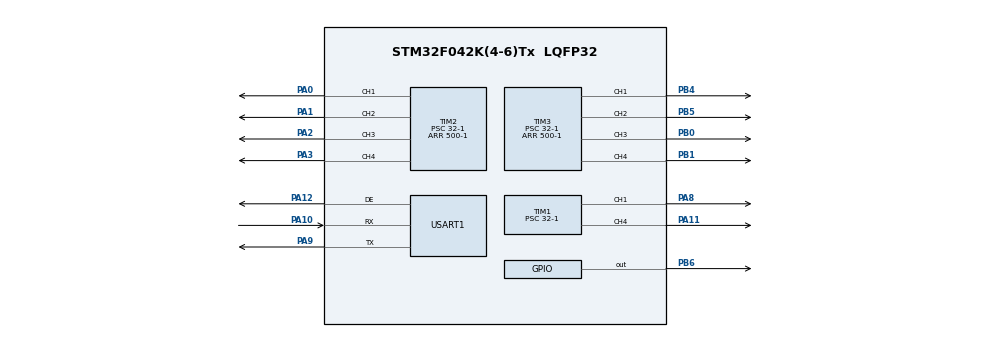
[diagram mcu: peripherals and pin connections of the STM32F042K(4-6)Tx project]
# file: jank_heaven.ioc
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CRC.InputDataFormat=CRC_INPUTDATA_FORMAT_WORDS
Mcu.Family=STM32F0
Mcu.Name=STM32F042K(4-6)Tx
Mcu.Package=LQFP32
PA0.Signal=S_TIM2_CH1_ETR
PA1.Signal=S_TIM2_CH2
PA10.Mode=Asynchronous
PA10.Signal=USART1_RX
PA11.Signal=S_TIM1_CH4
PA12.Mode=Hardware Flow Control (RS485)
PA12.Signal=USART1_DE
PA13.Mode=Serial_Wire
PA13.Signal=SYS_SWDIO
PA14.Mode=Serial_Wire
PA14.Signal=SYS_SWCLK
PA2.Signal=S_TIM2_CH3
PA3.Signal=S_TIM2_CH4
PA4.Signal=SPI1_NSS
PA5.Signal=SPI1_SCK
PA6.Signal=SPI1_MISO
PA7.Signal=SPI1_MOSI
PA8.Signal=S_TIM1_CH1
PA9.Mode=Asynchronous
PA9.Signal=USART1_TX
PB0.Signal=S_TIM3_CH3
PB1.Signal=S_TIM3_CH4
PB4.Signal=S_TIM3_CH1
PB5.Signal=S_TIM3_CH2
PB6.Signal=GPIO_Output
ProjectManager.HeapSize=0x200
ProjectManager.StackSize=0x400
ProjectManager.TargetToolchain=STM32CubeIDE
SH.S_TIM1_CH1.0=TIM1_CH1,PWM Generation1 CH1
SH.S_TIM1_CH4.0=TIM1_CH4,PWM Generation4 CH4
SH.S_TIM2_CH1_ETR.0=TIM2_CH1,PWM Generation1 CH1
SH.S_TIM2_CH2.0=TIM2_CH2,PWM Generation2 CH2
SH.S_TIM2_CH3.0=TIM2_CH3,PWM Generation3 CH3
SH.S_TIM2_CH4.0=TIM2_CH4,PWM Generation4 CH4
SH.S_TIM3_CH1.0=TIM3_CH1,PWM Generation1 CH1
SH.S_TIM3_CH2.0=TIM3_CH2,PWM Generation2 CH2
SH.S_TIM3_CH3.0=TIM3_CH3,PWM Generation3 CH3
SH.S_TIM3_CH4.0=TIM3_CH4,PWM Generation4 CH4
TIM1.Channel-PWM\ Generation1\ CH1=TIM_CHANNEL_1
TIM1.Channel-PWM\ Generation3\ CH3=TIM_CHANNEL_3
TIM1.Channel-PWM\ Generation4\ CH4=TIM_CHANNEL_4
TIM1.Period=500-1
TIM1.Prescaler=32-1
TIM1.Pulse-PWM\ Generation1\ CH1=375
TIM1.Pulse-PWM\ Generation3\ CH3=375
TIM1.Pulse-PWM\ Generation4\ CH4=375
TIM2.Channel-PWM\ Generation1\ CH1=TIM_CHANNEL_1
TIM2.Channel-PWM\ Generation2\ CH2=TIM_CHANNEL_2
TIM2.Channel-PWM\ Generation3\ CH3=TIM_CHANNEL_3
TIM2.Channel-PWM\ Generation4\ CH4=TIM_CHANNEL_4
TIM2.Period=500-1
TIM2.Prescaler=32-1
TIM2.Pulse-PWM\ Generation2\ CH2=375
TIM2.Pulse-PWM\ Generation3\ CH3=375
TIM2.Pulse-PWM\ Generation4\ CH4=375
TIM3.Channel-PWM\ Generation1\ CH1=TIM_CHANNEL_1
TIM3.Channel-PWM\ Generation2\ CH2=TIM_CHANNEL_2
TIM3.Channel-PWM\ Generation3\ CH3=TIM_CHANNEL_3
TIM3.Channel-PWM\ Generation4\ CH4=TIM_CHANNEL_4
TIM3.Period=500-1
TIM3.Prescaler=32-1
TIM3.Pulse-PWM\ Generation1\ CH1=375
TIM3.Pulse-PWM\ Generation2\ CH2=375
TIM3.Pulse-PWM\ Generation3\ CH3=375
TIM3.Pulse-PWM\ Generation4\ CH4=375
USART1.VirtualMode-Asynchronous=VM_ASYNC
USART1.VirtualMode-Hardware\ Flow\ Control\ (RS485)=VM_ASYNC
VP_CRC_VS_CRC.Mode=CRC_Activate
VP_TIM1_VS_ClockSourceINT.Mode=Internal
board=custom

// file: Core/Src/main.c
/* USER CODE BEGIN Header */
/**
 ******************************************************************************
 * @file           : main.c
 * @brief          : Main program body
 ******************************************************************************
 * @attention
 *
 * <h2><center>&copy; Copyright (c) 2023 STMicroelectronics.
 * All rights reserved.</center></h2>
 *
 * This software component is licensed by ST under BSD 3-Clause license,
 * the "License"; You may not use this file except in compliance with the
 * License. You may obtain a copy of the License at:
 *                        opensource.org/licenses/BSD-3-Clause
 *
 ******************************************************************************
 */
/* USER CODE END Header */
#include "main.h"

/* USER CODE BEGIN Includes */

//testing the branches

/* USER CODE END Includes */

/* USER CODE BEGIN PD */
#define SPI_BUFFER_SIZE 13
#define NUM_THRUSTERS 8
#define NUM_TOOLS 4
/* USER CODE END PD */

CRC_HandleTypeDef hcrc;

TIM_HandleTypeDef htim1;
TIM_HandleTypeDef htim2;
TIM_HandleTypeDef htim3;

UART_HandleTypeDef huart1;

/* USER CODE BEGIN PV */

uint8_t SPI_RX_Buffer[SPI_BUFFER_SIZE] = { 127, 127, 127, 127, 127, 127, 127,
		127, 127, 127, 127, 127, 127 };
uint8_t SPI_TX_Buffer[SPI_BUFFER_SIZE] =
		{ 0, 0, 0, 0, 0, 0, 0, 0, 0, 0, 0, 0, 0 };

GPIO_TypeDef *DEBUG_LED_GPIO_Port = GPIOB;
uint16_t DEBUG_LED_Pin = GPIO_PIN_6;

/* USER CODE END PV */

void SystemClock_Config(void);
static void MX_GPIO_Init(void);
static void MX_TIM2_Init(void);
static void MX_TIM3_Init(void);
static void MX_CRC_Init(void);
static void MX_TIM1_Init(void);
static void MX_USART1_UART_Init(void);
/* USER CODE BEGIN PFP */

void EnablePWMOutput(TIM_HandleTypeDef *_htim);

/* USER CODE END PFP */

int main(void)
{

  /* MCU Configuration--------------------------------------------------------*/

  /* Reset of all peripherals, Initializes the Flash interface and the Systick. */
  HAL_Init();

  /* Configure the system clock */
  SystemClock_Config();

  /* Initialize all configured peripherals */
  MX_GPIO_Init();
  MX_TIM2_Init();
  MX_TIM3_Init();
  MX_CRC_Init();
  MX_TIM1_Init();
  MX_USART1_UART_Init();
  /* USER CODE BEGIN 2 */
	EnablePWMOutput(&htim1);
	EnablePWMOutput(&htim2);
	EnablePWMOutput(&htim3);

  /* USER CODE END 2 */

  /* Infinite loop */
  /* USER CODE BEGIN WHILE */
	//HAL_SPI_TransmitReceive_IT(&hspi1, SPI_TX_Buffer, SPI_RX_Buffer, SPI_BUFFER_SIZE);
	//UART version of the above line
	HAL_UART_Transmit_IT(&huart1, SPI_TX_Buffer, SPI_BUFFER_SIZE);
	HAL_UART_Recieve_IT(&huart1, SPI_RX_Buffer, SPI_BUFFER_SIZE);
	for (;;) {
		htim3.Instance->CCR1 = 250;

		__asm("NOP");
	}
    /* USER CODE END WHILE */

}

void SystemClock_Config(void)
{
  RCC_OscInitTypeDef RCC_OscInitStruct = {0};
  RCC_ClkInitTypeDef RCC_ClkInitStruct = {0};
  RCC_PeriphCLKInitTypeDef PeriphClkInit = {0};

  /** Initializes the RCC Oscillators according to the specified parameters
  * in the RCC_OscInitTypeDef structure.
  */
  RCC_OscInitStruct.OscillatorType = RCC_OSCILLATORTYPE_HSI;
  RCC_OscInitStruct.HSIState = RCC_HSI_ON;
  RCC_OscInitStruct.HSICalibrationValue = RCC_HSICALIBRATION_DEFAULT;
  RCC_OscInitStruct.PLL.PLLState = RCC_PLL_NONE;
  if (HAL_RCC_OscConfig(&RCC_OscInitStruct) != HAL_OK)
  {
    Error_Handler();
  }

  /** Initializes the CPU, AHB and APB buses clocks
  */
  RCC_ClkInitStruct.ClockType = RCC_CLOCKTYPE_HCLK|RCC_CLOCKTYPE_SYSCLK
                              |RCC_CLOCKTYPE_PCLK1;
  RCC_ClkInitStruct.SYSCLKSource = RCC_SYSCLKSOURCE_HSI;
  RCC_ClkInitStruct.AHBCLKDivider = RCC_SYSCLK_DIV1;
  RCC_ClkInitStruct.APB1CLKDivider = RCC_HCLK_DIV1;

  if (HAL_RCC_ClockConfig(&RCC_ClkInitStruct, FLASH_LATENCY_0) != HAL_OK)
  {
    Error_Handler();
  }
  PeriphClkInit.PeriphClockSelection = RCC_PERIPHCLK_USART1;
  PeriphClkInit.Usart1ClockSelection = RCC_USART1CLKSOURCE_PCLK1;
  if (HAL_RCCEx_PeriphCLKConfig(&PeriphClkInit) != HAL_OK)
  {
    Error_Handler();
  }
}

static void MX_CRC_Init(void)
{

  hcrc.Instance = CRC;
  hcrc.Init.DefaultInitValueUse = DEFAULT_INIT_VALUE_ENABLE;
  hcrc.Init.InputDataInversionMode = CRC_INPUTDATA_INVERSION_NONE;
  hcrc.Init.OutputDataInversionMode = CRC_OUTPUTDATA_INVERSION_DISABLE;
  hcrc.InputDataFormat = CRC_INPUTDATA_FORMAT_WORDS;
  if (HAL_CRC_Init(&hcrc) != HAL_OK)
  {
    Error_Handler();
  }

}

static void MX_TIM1_Init(void)
{

  TIM_ClockConfigTypeDef sClockSourceConfig = {0};
  TIM_MasterConfigTypeDef sMasterConfig = {0};
  TIM_OC_InitTypeDef sConfigOC = {0};
  TIM_BreakDeadTimeConfigTypeDef sBreakDeadTimeConfig = {0};

  htim1.Instance = TIM1;
  htim1.Init.Prescaler = 32-1;
  htim1.Init.CounterMode = TIM_COUNTERMODE_UP;
  htim1.Init.Period = 500-1;
  htim1.Init.ClockDivision = TIM_CLOCKDIVISION_DIV1;
  htim1.Init.RepetitionCounter = 0;
  htim1.Init.AutoReloadPreload = TIM_AUTORELOAD_PRELOAD_DISABLE;
  if (HAL_TIM_Base_Init(&htim1) != HAL_OK)
  {
    Error_Handler();
  }
  sClockSourceConfig.ClockSource = TIM_CLOCKSOURCE_INTERNAL;
  if (HAL_TIM_ConfigClockSource(&htim1, &sClockSourceConfig) != HAL_OK)
  {
    Error_Handler();
  }
  if (HAL_TIM_PWM_Init(&htim1) != HAL_OK)
  {
    Error_Handler();
  }
  sMasterConfig.MasterOutputTrigger = TIM_TRGO_RESET;
  sMasterConfig.MasterSlaveMode = TIM_MASTERSLAVEMODE_DISABLE;
  if (HAL_TIMEx_MasterConfigSynchronization(&htim1, &sMasterConfig) != HAL_OK)
  {
    Error_Handler();
  }
  sConfigOC.OCMode = TIM_OCMODE_PWM1;
  sConfigOC.Pulse = 375;
  sConfigOC.OCPolarity = TIM_OCPOLARITY_HIGH;
  sConfigOC.OCNPolarity = TIM_OCNPOLARITY_HIGH;
  sConfigOC.OCFastMode = TIM_OCFAST_DISABLE;
  sConfigOC.OCIdleState = TIM_OCIDLESTATE_RESET;
  sConfigOC.OCNIdleState = TIM_OCNIDLESTATE_RESET;
  if (HAL_TIM_PWM_ConfigChannel(&htim1, &sConfigOC, TIM_CHANNEL_1) != HAL_OK)
  {
    Error_Handler();
  }
  if (HAL_TIM_PWM_ConfigChannel(&htim1, &sConfigOC, TIM_CHANNEL_4) != HAL_OK)
  {
    Error_Handler();
  }
  sBreakDeadTimeConfig.OffStateRunMode = TIM_OSSR_DISABLE;
  sBreakDeadTimeConfig.OffStateIDLEMode = TIM_OSSI_DISABLE;
  sBreakDeadTimeConfig.LockLevel = TIM_LOCKLEVEL_OFF;
  sBreakDeadTimeConfig.DeadTime = 0;
  sBreakDeadTimeConfig.BreakState = TIM_BREAK_DISABLE;
  sBreakDeadTimeConfig.BreakPolarity = TIM_BREAKPOLARITY_HIGH;
  sBreakDeadTimeConfig.AutomaticOutput = TIM_AUTOMATICOUTPUT_DISABLE;
  if (HAL_TIMEx_ConfigBreakDeadTime(&htim1, &sBreakDeadTimeConfig) != HAL_OK)
  {
    Error_Handler();
  }
  HAL_TIM_MspPostInit(&htim1);

}

static void MX_TIM2_Init(void)
{

  TIM_MasterConfigTypeDef sMasterConfig = {0};
  TIM_OC_InitTypeDef sConfigOC = {0};

  htim2.Instance = TIM2;
  htim2.Init.Prescaler = 32-1;
  htim2.Init.CounterMode = TIM_COUNTERMODE_UP;
  htim2.Init.Period = 500-1;
  htim2.Init.ClockDivision = TIM_CLOCKDIVISION_DIV1;
  htim2.Init.AutoReloadPreload = TIM_AUTORELOAD_PRELOAD_DISABLE;
  if (HAL_TIM_PWM_Init(&htim2) != HAL_OK)
  {
    Error_Handler();
  }
  sMasterConfig.MasterOutputTrigger = TIM_TRGO_RESET;
  sMasterConfig.MasterSlaveMode = TIM_MASTERSLAVEMODE_DISABLE;
  if (HAL_TIMEx_MasterConfigSynchronization(&htim2, &sMasterConfig) != HAL_OK)
  {
    Error_Handler();
  }
  sConfigOC.OCMode = TIM_OCMODE_PWM1;
  sConfigOC.Pulse = 0;
  sConfigOC.OCPolarity = TIM_OCPOLARITY_HIGH;
  sConfigOC.OCFastMode = TIM_OCFAST_DISABLE;
  if (HAL_TIM_PWM_ConfigChannel(&htim2, &sConfigOC, TIM_CHANNEL_1) != HAL_OK)
  {
    Error_Handler();
  }
  sConfigOC.Pulse = 375;
  if (HAL_TIM_PWM_ConfigChannel(&htim2, &sConfigOC, TIM_CHANNEL_2) != HAL_OK)
  {
    Error_Handler();
  }
  if (HAL_TIM_PWM_ConfigChannel(&htim2, &sConfigOC, TIM_CHANNEL_3) != HAL_OK)
  {
    Error_Handler();
  }
  if (HAL_TIM_PWM_ConfigChannel(&htim2, &sConfigOC, TIM_CHANNEL_4) != HAL_OK)
  {
    Error_Handler();
  }
  HAL_TIM_MspPostInit(&htim2);

}

static void MX_TIM3_Init(void)
{

  TIM_MasterConfigTypeDef sMasterConfig = {0};
  TIM_OC_InitTypeDef sConfigOC = {0};

  htim3.Instance = TIM3;
  htim3.Init.Prescaler = 32-1;
  htim3.Init.CounterMode = TIM_COUNTERMODE_UP;
  htim3.Init.Period = 500-1;
  htim3.Init.ClockDivision = TIM_CLOCKDIVISION_DIV1;
  htim3.Init.AutoReloadPreload = TIM_AUTORELOAD_PRELOAD_DISABLE;
  if (HAL_TIM_PWM_Init(&htim3) != HAL_OK)
  {
    Error_Handler();
  }
  sMasterConfig.MasterOutputTrigger = TIM_TRGO_RESET;
  sMasterConfig.MasterSlaveMode = TIM_MASTERSLAVEMODE_DISABLE;
  if (HAL_TIMEx_MasterConfigSynchronization(&htim3, &sMasterConfig) != HAL_OK)
  {
    Error_Handler();
  }
  sConfigOC.OCMode = TIM_OCMODE_PWM1;
  sConfigOC.Pulse = 375;
  sConfigOC.OCPolarity = TIM_OCPOLARITY_HIGH;
  sConfigOC.OCFastMode = TIM_OCFAST_DISABLE;
  if (HAL_TIM_PWM_ConfigChannel(&htim3, &sConfigOC, TIM_CHANNEL_1) != HAL_OK)
  {
    Error_Handler();
  }
  if (HAL_TIM_PWM_ConfigChannel(&htim3, &sConfigOC, TIM_CHANNEL_2) != HAL_OK)
  {
    Error_Handler();
  }
  if (HAL_TIM_PWM_ConfigChannel(&htim3, &sConfigOC, TIM_CHANNEL_3) != HAL_OK)
  {
    Error_Handler();
  }
  if (HAL_TIM_PWM_ConfigChannel(&htim3, &sConfigOC, TIM_CHANNEL_4) != HAL_OK)
  {
    Error_Handler();
  }
  HAL_TIM_MspPostInit(&htim3);

}

static void MX_USART1_UART_Init(void)
{

  huart1.Instance = USART1;
  huart1.Init.BaudRate = 38400;
  huart1.Init.WordLength = UART_WORDLENGTH_8B;
  huart1.Init.StopBits = UART_STOPBITS_1;
  huart1.Init.Parity = UART_PARITY_NONE;
  huart1.Init.Mode = UART_MODE_TX_RX;
  huart1.Init.HwFlowCtl = UART_HWCONTROL_NONE;
  huart1.Init.OverSampling = UART_OVERSAMPLING_16;
  huart1.Init.OneBitSampling = UART_ONE_BIT_SAMPLE_DISABLE;
  huart1.AdvancedInit.AdvFeatureInit = UART_ADVFEATURE_NO_INIT;
  if (HAL_RS485Ex_Init(&huart1, UART_DE_POLARITY_HIGH, 0, 0) != HAL_OK)
  {
    Error_Handler();
  }

}

static void MX_GPIO_Init(void)
{
  GPIO_InitTypeDef GPIO_InitStruct = {0};

  /* GPIO Ports Clock Enable */
  __HAL_RCC_GPIOA_CLK_ENABLE();
  __HAL_RCC_GPIOB_CLK_ENABLE();

  /*Configure GPIO pin Output Level */
  HAL_GPIO_WritePin(GPIOB, GPIO_PIN_6, GPIO_PIN_RESET);

  /*Configure GPIO pins : PA4 PA5 PA6 PA7 */
  GPIO_InitStruct.Pin = GPIO_PIN_4|GPIO_PIN_5|GPIO_PIN_6|GPIO_PIN_7;
  GPIO_InitStruct.Mode = GPIO_MODE_AF_PP;
  GPIO_InitStruct.Pull = GPIO_NOPULL;
  GPIO_InitStruct.Speed = GPIO_SPEED_FREQ_HIGH;
  GPIO_InitStruct.Alternate = GPIO_AF0_SPI1;
  HAL_GPIO_Init(GPIOA, &GPIO_InitStruct);

  /*Configure GPIO pin : PB6 */
  GPIO_InitStruct.Pin = GPIO_PIN_6;
  GPIO_InitStruct.Mode = GPIO_MODE_OUTPUT_PP;
  GPIO_InitStruct.Pull = GPIO_NOPULL;
  GPIO_InitStruct.Speed = GPIO_SPEED_FREQ_LOW;
  HAL_GPIO_Init(GPIOB, &GPIO_InitStruct);

}

/* USER CODE BEGIN 4 */

void EnablePWMOutput(TIM_HandleTypeDef *_htim) {
	//  Set HAL Timer Channel Status
	HAL_TIM_PWM_Start(_htim, TIM_CHANNEL_1);
	HAL_TIM_PWM_Start(_htim, TIM_CHANNEL_2);
	HAL_TIM_PWM_Start(_htim, TIM_CHANNEL_3);
	HAL_TIM_PWM_Start(_htim, TIM_CHANNEL_4);
}

enum message_type {
	/* Future expansion, may need a type for each "tool" */
	ACK = 0, NACK = 1, FULL_THRUST_CONTROL = 2, TOOLS_SERVO_CONTROL = 3
};

uint16_t expected_msg_id = 0;

struct thrust_tools_message {
	enum message_type message_type;
	uint16_t message_id;
	union {
		uint8_t values[NUM_THRUSTERS];
		uint8_t padding;
	} data;

	uint16_t crc;
} __attribute__((packed));

/*
struct tscp_message {
	enum tctp_message_type type;
	uint16_t message_id;
	union {
		uint8_t tools_servo_values[NUM_TOOLS];
		uint8_t padding;
	} data;

	uint16_t crc;
} __attribute__((packed)); */

struct thrust_tools_message_tx {
	enum message_type message_type;
	uint16_t message_id;
	uint16_t crc;
} __attribute__((packed));

/* CRC INIT */
uint8_t CRC_compare(struct thrust_tools_message received_msg) {
	uint16_t received_crc = received_msg.crc;
	uint32_t SPI_RX_Buffer_32[SPI_BUFFER_SIZE];
	for (int i = 0; i < SPI_BUFFER_SIZE; i++) {
		SPI_RX_Buffer_32[i] = (uint32_t) SPI_RX_Buffer[i];
	}

	uint32_t calculated_crc = HAL_CRC_Calculate(&hcrc, SPI_RX_Buffer_32, 11);
	calculated_crc = (uint16_t) calculated_crc;

	return received_crc == calculated_crc;
}

//uint8_t CRC_compare_tscp(struct tscp_message received_msg) {
//	uint16_t received_crc = received_msg.crc;
//	uint32_t SPI_RX_Buffer_32[SPI_BUFFER_SIZE];
//	for (int i = 0; i < SPI_BUFFER_SIZE; i++) {
//		SPI_RX_Buffer_32[i] = (uint32_t) SPI_RX_Buffer[i];
//	}
//
//	uint32_t calculated_crc = HAL_CRC_Calculate(&hcrc, SPI_RX_Buffer_32, 11);
//	calculated_crc = (uint16_t) calculated_crc;
//
//	return received_crc == calculated_crc;
//}

void HAL_SPI_TxRxCpltCallback(SPI_HandleTypeDef *hspi) {
//	HAL_GPIO_WritePin(GPIOB, GPIO_PIN_6, GPIO_PIN_SET);
	uint8_t message_correct;

	struct thrust_tools_message *received_msg = (struct thrust_tools_message*) SPI_RX_Buffer;

	message_correct = CRC_compare(*received_msg);

	if (message_correct) { // returning message type
		SPI_TX_Buffer[0] = ACK;
	} else {
		SPI_TX_Buffer[0] = NACK;
	}

	SPI_TX_Buffer[1] = SPI_RX_Buffer[1]; // returning message ID
	SPI_TX_Buffer[2] = SPI_RX_Buffer[2];

	SPI_TX_Buffer[3] = SPI_RX_Buffer[11]; // returning CRC
	SPI_TX_Buffer[4] = SPI_RX_Buffer[12];

	for (int i = 5; i < SPI_BUFFER_SIZE; i++) { // Filling the rest with zeroes
		SPI_TX_Buffer[i] = 0;
	}

	HAL_SPI_TransmitReceive_IT(&hspi1, SPI_TX_Buffer, SPI_RX_Buffer, SPI_BUFFER_SIZE);

	uint8_t received_payload[NUM_THRUSTERS];
	memcpy(received_payload, received_msg->data.values, NUM_THRUSTERS);

	if (message_correct) {
//		switch (received_msg->message_type) {
//		case FULL_THRUST_CONTROL:
//			htim1.Instance->CCR1 = (uint32_t) received_payload[0] + 250;
//			htim1.Instance->CCR2 = (uint32_t) received_payload[1] + 250;
//			htim1.Instance->CCR3 = (uint32_t) received_payload[2] + 250;
//			htim1.Instance->CCR4 = (uint32_t) received_payload[3] + 250;
//
//			htim2.Instance->CCR1 = (uint32_t) received_payload[4] + 250;
//			htim2.Instance->CCR2 = (uint32_t) received_payload[5] + 250;
//			htim2.Instance->CCR3 = (uint32_t) received_payload[6] + 250;
//			htim2.Instance->CCR4 = (uint32_t) received_payload[7] + 250;
//			break;
//
//		case TOOLS_SERVO_CONTROL:
//			htim3.Instance->CCR1 = (uint32_t) received_payload[0] * (500 / 0xFF);
//			htim3.Instance->CCR2 = (uint32_t) received_payload[1] * (500 / 0xFF);
//			htim3.Instance->CCR3 = (uint32_t) received_payload[2] * (500 / 0xFF);
//			htim3.Instance->CCR4 = (uint32_t) received_payload[3] * (500 / 0xFF);
//			break;
//
//		default:
//			break;
//		}
	} else {
		// NVIC_SystemReset();
	}

}

//UART Interrupts

/* TX Goal: read values from this specific one's peripheral, send it out to the pi.
 *
 */

void HAL_UART_TxCpltCallback(UART_HandleTypeDef *huart) {
    // Code to handle completion of UART transmission
	// TX needs to send messages to the Pi

	uint8_t message_correct;

	struct thrust_tools_message *received_msg = (struct thrust_tools_message*) SPI_RX_Buffer;

	message_correct = CRC_compare(*received_msg);

	if (message_correct) { // returning message type
			SPI_TX_Buffer[0] = ACK;

		} else {
			SPI_TX_Buffer[0] = NACK;

		}

	SPI_TX_Buffer[1] = SPI_RX_Buffer[1]; // returning message ID
	SPI_TX_Buffer[2] = SPI_RX_Buffer[2];

	SPI_TX_Buffer[3] = SPI_RX_Buffer[11]; // returning CRC
	SPI_TX_Buffer[4] = SPI_RX_Buffer[12];

	for (int i = 5; i < SPI_BUFFER_SIZE; i++) { // Filling the rest with zeroes
			SPI_TX_Buffer[i] = 0;
		}

	//HAL_SPI_TransmitReceive_IT(&hspi1, SPI_TX_Buffer, SPI_RX_Buffer, SPI_BUFFER_SIZE);
	// Re-enable UART RX interrupt to continue receiving data
	HAL_UART_Recieve_IT(&huart1, SPI_TX_Buffer, SPI_BUFFER_SIZE);

	uint8_t received_payload[NUM_THRUSTERS];
	memcpy(received_payload, received_msg->data.values, NUM_THRUSTERS);

	if (message_correct) {
//		switch (received_msg->message_type) {
//		case FULL_THRUST_CONTROL:
//			htim1.Instance->CCR1 = (uint32_t) received_payload[0] + 250;
//			htim1.Instance->CCR2 = (uint32_t) received_payload[1] + 250;
//			htim1.Instance->CCR3 = (uint32_t) received_payload[2] + 250;
//			htim1.Instance->CCR4 = (uint32_t) received_payload[3] + 250;
//
//			htim2.Instance->CCR1 = (uint32_t) received_payload[4] + 250;
//			htim2.Instance->CCR2 = (uint32_t) received_payload[5] + 250;
//			htim2.Instance->CCR3 = (uint32_t) received_payload[6] + 250;
//			htim2.Instance->CCR4 = (uint32_t) received_payload[7] + 250;
//			break;
//
//		case TOOLS_SERVO_CONTROL:
//			htim3.Instance->CCR1 = (uint32_t) received_payload[0] * (500 / 0xFF);
//			htim3.Instance->CCR2 = (uint32_t) received_payload[1] * (500 / 0xFF);
//			htim3.Instance->CCR3 = (uint32_t) received_payload[2] * (500 / 0xFF);
//			htim3.Instance->CCR4 = (uint32_t) received_payload[3] * (500 / 0xFF);
//			break;
//
//		default:
//			break;
//		}
	} else {
		// NVIC_SystemReset();
	}
}

/* RX Goal: Check the message ID to see if it this chip's
 * If it is the chip's, then read the data, and perform things
*/

void HAL_UART_RxCpltCallback(UART_HandleTypeDef *huart) {
    // Code to handle completion of UART reception
	// RX intakes messages

	uint8_t message_correct;

	struct thrust_tools_message *received_msg = (struct thrust_tools_message*) SPI_RX_Buffer;

	message_correct = CRC_compare(*received_msg);

	if (message_correct) { // returning message type
			SPI_TX_Buffer[0] = ACK;

		} else {
			SPI_TX_Buffer[0] = NACK;

		}

	SPI_TX_Buffer[1] = SPI_RX_Buffer[1]; // returning message ID
	SPI_TX_Buffer[2] = SPI_RX_Buffer[2];

	SPI_TX_Buffer[3] = SPI_RX_Buffer[11]; // returning CRC
	SPI_TX_Buffer[4] = SPI_RX_Buffer[12];

	for (int i = 5; i < SPI_BUFFER_SIZE; i++) { // Filling the rest with zeroes
			SPI_TX_Buffer[i] = 0;
		}

	//HAL_SPI_TransmitReceive_IT(&hspi1, SPI_TX_Buffer, SPI_RX_Buffer, SPI_BUFFER_SIZE);
	// Re-enable UART RX interrupt to continue receiving data
	HAL_UART_Recieve_IT(&huart1, SPI_RX_Buffer, SPI_BUFFER_SIZE);

	uint8_t received_payload[NUM_THRUSTERS];
	memcpy(received_payload, received_msg->data.values, NUM_THRUSTERS);

	if (message_correct) {
//		switch (received_msg->message_type) {
//		case FULL_THRUST_CONTROL:
//			htim1.Instance->CCR1 = (uint32_t) received_payload[0] + 250;
//			htim1.Instance->CCR2 = (uint32_t) received_payload[1] + 250;
//			htim1.Instance->CCR3 = (uint32_t) received_payload[2] + 250;
//			htim1.Instance->CCR4 = (uint32_t) received_payload[3] + 250;
//
//			htim2.Instance->CCR1 = (uint32_t) received_payload[4] + 250;
//			htim2.Instance->CCR2 = (uint32_t) received_payload[5] + 250;
//			htim2.Instance->CCR3 = (uint32_t) received_payload[6] + 250;
//			htim2.Instance->CCR4 = (uint32_t) received_payload[7] + 250;
//			break;
//
//		case TOOLS_SERVO_CONTROL:
//			htim3.Instance->CCR1 = (uint32_t) received_payload[0] * (500 / 0xFF);
//			htim3.Instance->CCR2 = (uint32_t) received_payload[1] * (500 / 0xFF);
//			htim3.Instance->CCR3 = (uint32_t) received_payload[2] * (500 / 0xFF);
//			htim3.Instance->CCR4 = (uint32_t) received_payload[3] * (500 / 0xFF);
//			break;
//
//		default:
//			break;
//		}
	} else {
		// NVIC_SystemReset();
	}
}

/* USER CODE END 4 */

void Error_Handler(void)
{
}
